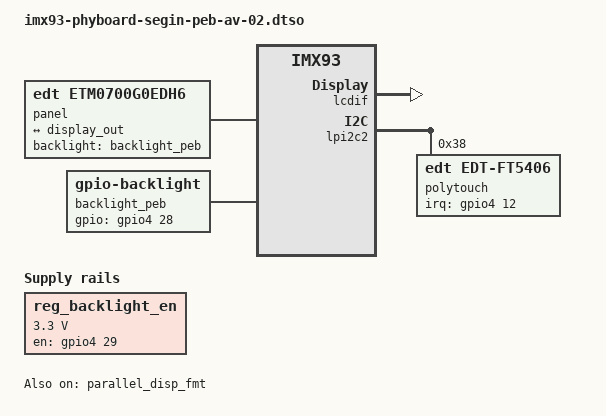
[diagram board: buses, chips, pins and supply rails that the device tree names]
// SPDX-License-Identifier: GPL-2.0
/*
 * Copyright (C) 2023 PHYTEC Messtechnik GmbH
 * Author: Andrej Picej <andrej.picej@norik.com>
 */

#include <dt-bindings/gpio/gpio.h>
#include <dt-bindings/interrupt-controller/arm-gic.h>
#include "imx93-pinfunc.h"

/dts-v1/;
/plugin/;

/ {
	compatible = "phytec,imx93-phyboard-segin";
};

&{/} {
	panel {
		compatible = "edt,etm0700g0edh6";
		backlight = <&backlight_peb>;

		port {
			panel_in: endpoint {
				remote-endpoint = <&display_out>;
			};
		};
	};

	backlight_peb: backlight {
		compatible = "gpio-backlight";
		pinctrl-names = "default";
		pinctrl-0 = <&pinctrl_backlight>;
		gpios = <&gpio4 28 GPIO_ACTIVE_HIGH>;
		default-on;
	};

	reg_backlight_en: regulator-backlight-en {
		compatible = "regulator-fixed";
		pinctrl-names = "default";
		pinctrl-0 = <&pinctrl_backlight_en>;
		regulator-name = "Backlight";
		regulator-min-microvolt = <3300000>;
		regulator-max-microvolt = <3300000>;
		gpio = <&gpio4 29 GPIO_ACTIVE_HIGH>;
		enable-active-high;
		regulator-always-on;
	};
};

&lcdif {
	status = "okay";
	assigned-clock-rates = <150000000>, <30000000>, <400000000>, <133333333>;
};

&parallel_disp_fmt {
	pinctrl-names = "default";
	pinctrl-0 = <&pinctrl_lcdif>;
	fsl,interface-pix-fmt = "rgb666";
	status = "okay";

	ports {
		#address-cells = <1>;
		#size-cells = <0>;

		port@1 {
			reg = <1>;

			display_out: endpoint {
				remote-endpoint = <&panel_in>;
			};
		};
	};
};

&lpi2c2 {
	#address-cells = <1>;
	#size-cells = <0>;

	polytouch: edt-ft5x06@38 {
		compatible = "edt,edt-ft5406";
		reg = <0x38>;
		pinctrl-names = "default";
		pinctrl-0 = <&pinctrl_edt_ft5x06>;
		interrupt-parent = <&gpio4>;
		interrupts = <12 IRQ_TYPE_EDGE_FALLING>;
		touchscreen-size-x = <1792>;
		touchscreen-size-y = <1024>;
		wakeup-source;
		status = "okay";
	};
};

&iomuxc {
	pinctrl_backlight: backlightgrp {
		fsl,pins = <
			MX93_PAD_CCM_CLKO3__GPIO4_IO28 0x1133e
		>;
	};

	pinctrl_backlight_en: backlightengrp {
		fsl,pins = <
			MX93_PAD_CCM_CLKO4__GPIO4_IO29	0x1133e
		>;
	};

	pinctrl_edt_ft5x06: edtft5x06grp {
		fsl,pins = <
			MX93_PAD_ENET1_RD2__GPIO4_IO12	0x1133e
		>;
	};

	pinctrl_lcdif: lcdifgrp {
		fsl,pins = <
			MX93_PAD_GPIO_IO00__MEDIAMIX_DISP_CLK		0x50e
			MX93_PAD_GPIO_IO01__MEDIAMIX_DISP_DE		0x50e
			MX93_PAD_GPIO_IO02__MEDIAMIX_DISP_VSYNC		0x50e
			MX93_PAD_GPIO_IO03__MEDIAMIX_DISP_HSYNC		0x50e
			MX93_PAD_GPIO_IO04__MEDIAMIX_DISP_DATA00	0x50e
			MX93_PAD_GPIO_IO05__MEDIAMIX_DISP_DATA01	0x50e
			MX93_PAD_GPIO_IO06__MEDIAMIX_DISP_DATA02	0x50e
			MX93_PAD_GPIO_IO07__MEDIAMIX_DISP_DATA03	0x50e
			MX93_PAD_GPIO_IO08__MEDIAMIX_DISP_DATA04	0x50e
			MX93_PAD_GPIO_IO09__MEDIAMIX_DISP_DATA05	0x51e
			MX93_PAD_GPIO_IO10__MEDIAMIX_DISP_DATA06	0x50e
			MX93_PAD_GPIO_IO11__MEDIAMIX_DISP_DATA07	0x50e
			MX93_PAD_GPIO_IO12__MEDIAMIX_DISP_DATA08	0x50e
			MX93_PAD_GPIO_IO13__MEDIAMIX_DISP_DATA09	0x50e
			MX93_PAD_GPIO_IO14__MEDIAMIX_DISP_DATA10	0x50e
			MX93_PAD_GPIO_IO15__MEDIAMIX_DISP_DATA11	0x50e
			MX93_PAD_GPIO_IO16__MEDIAMIX_DISP_DATA12	0x506
			MX93_PAD_GPIO_IO17__MEDIAMIX_DISP_DATA13	0x506
			MX93_PAD_GPIO_IO18__MEDIAMIX_DISP_DATA14	0x506
			MX93_PAD_GPIO_IO19__MEDIAMIX_DISP_DATA15	0x506
			MX93_PAD_GPIO_IO20__MEDIAMIX_DISP_DATA16	0x506
			MX93_PAD_GPIO_IO21__MEDIAMIX_DISP_DATA17	0x506
		>;
	};
};
